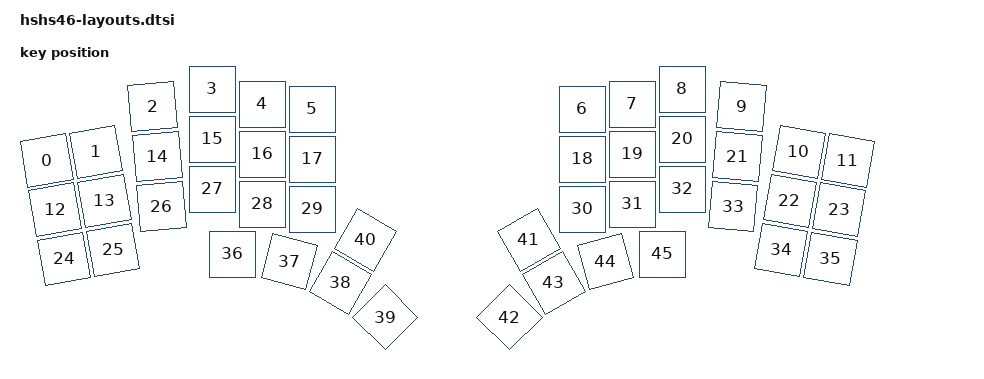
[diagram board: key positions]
#include <physical_layouts.dtsi>

/ {
    physical_layout0: physical_layout_0 {
        compatible = "zmk,physical-layout";
        display-name = "HSHS46";

        kscan = <&kscan>;
        transform = <&default_transform>;

        keys  //                     w   h    x    y     rot    rx    ry
            = <&key_physical_attrs 100 100    0    0 (-1000)   850   300>
            , <&key_physical_attrs 100 100  100    0 (-1000)   850   300>
            , <&key_physical_attrs 100 100  200   30  (-500)   300   300>
            , <&key_physical_attrs 100 100  300    0       0     0     0>
            , <&key_physical_attrs 100 100  400   30       0     0     0>
            , <&key_physical_attrs 100 100  500   40       0     0     0>
            , <&key_physical_attrs 100 100 1040   40       0     0     0>
            , <&key_physical_attrs 100 100 1140   30       0     0     0>
            , <&key_physical_attrs 100 100 1240    0       0     0     0>
            , <&key_physical_attrs 100 100 1340   30     500  1340   300>
            , <&key_physical_attrs 100 100 1440    0    1000   790   300>
            , <&key_physical_attrs 100 100 1540    0    1000   790   300>
            , <&key_physical_attrs 100 100    0  100 (-1000)   850   300>
            , <&key_physical_attrs 100 100  100  100 (-1000)   850   300>
            , <&key_physical_attrs 100 100  200  130  (-500)   300   300>
            , <&key_physical_attrs 100 100  300  100       0     0     0>
            , <&key_physical_attrs 100 100  400  130       0     0     0>
            , <&key_physical_attrs 100 100  500  140       0     0     0>
            , <&key_physical_attrs 100 100 1040  140       0     0     0>
            , <&key_physical_attrs 100 100 1140  130       0     0     0>
            , <&key_physical_attrs 100 100 1240  100       0     0     0>
            , <&key_physical_attrs 100 100 1340  130     500  1340   300>
            , <&key_physical_attrs 100 100 1440  100    1000   790   300>
            , <&key_physical_attrs 100 100 1540  100    1000   790   300>
            , <&key_physical_attrs 100 100    0  200 (-1000)   850   300>
            , <&key_physical_attrs 100 100  100  200 (-1000)   850   300>
            , <&key_physical_attrs 100 100  200  230  (-500)   300   300>
            , <&key_physical_attrs 100 100  300  200       0     0     0>
            , <&key_physical_attrs 100 100  400  230       0     0     0>
            , <&key_physical_attrs 100 100  500  240       0     0     0>
            , <&key_physical_attrs 100 100 1040  240       0     0     0>
            , <&key_physical_attrs 100 100 1140  230       0     0     0>
            , <&key_physical_attrs 100 100 1240  200       0     0     0>
            , <&key_physical_attrs 100 100 1340  230     500  1340   300>
            , <&key_physical_attrs 100 100 1440  200    1000   790   300>
            , <&key_physical_attrs 100 100 1540  200    1000   790   300>
            , <&key_physical_attrs 100 100  340  330       0     0     0>
            , <&key_physical_attrs 100 100  440  330    1500   440   440>
            , <&key_physical_attrs 100 100  540  330    3000   490   440>
            , <&key_physical_attrs 100 100  640  330    4500   540   450>
            , <&key_physical_attrs 100 100  540  230    3000   490   440>
            , <&key_physical_attrs 100 100 1000  230 (-3000)  1150   440>
            , <&key_physical_attrs 100 100  900  330 (-4500)  1100   450>
            , <&key_physical_attrs 100 100 1000  330 (-3000)  1150   440>
            , <&key_physical_attrs 100 100 1100  330 (-1500)  1200   440>
            , <&key_physical_attrs 100 100 1200  330       0     0     0>
            ;
    };
};
